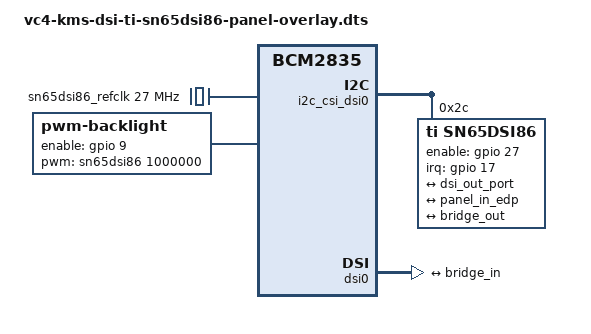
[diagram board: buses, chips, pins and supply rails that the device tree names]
/*
 * vc4-kms-dsi-sn65dsi86-overlay.dts
 */

/dts-v1/;
/plugin/;
#include <dt-bindings/gpio/gpio.h>
#include <dt-bindings/interrupt-controller/irq.h>

/ {
	compatible = "brcm,bcm2835";

	fragment@0 {
		target-path = "/";
		__overlay__ {
			sn65dsi86_refclk: sn65dsi86-refclk {
				compatible = "fixed-clock";
				#clock-cells = <0>;

				clock-frequency = <27000000>;
			};

			backlight: backlight {
				compatible = "pwm-backlight";
				pwms = <&sn65dsi86 1000000>;
				enable-gpios = <&gpio 9 GPIO_ACTIVE_HIGH>;
			};

		};
	};

	fragment@3 {
		target = <&i2c_csi_dsi0>;
		__overlay__ {
			#gpio-cells = <2>;
			#address-cells = <1>;
			#size-cells = <0>;
			status = "okay";

			sn65dsi86: bridge@2c {
				compatible = "ti,sn65dsi86";
				reg = <0x2c>;

				interrupt-parent = <&gpio>;
				interrupts = <17 IRQ_TYPE_LEVEL_HIGH>;

				enable-gpios = <&gpio 27 GPIO_ACTIVE_HIGH>;

				//vpll-supply = <&src_pp1800_s4a>;
				//vccio-supply = <&src_pp1800_s4a>;
				//vcca-supply = <&src_pp1200_l2a>;
				//vcc-supply = <&src_pp1200_l2a>;

				clocks = <&sn65dsi86_refclk>;
				clock-names = "refclk";

				no-hpd;
				#pwm-cells = <1>;

				ports {
					#address-cells = <1>;
					#size-cells = <0>;

					port@0 {
						reg = <0>;

						bridge_in: endpoint {
							remote-endpoint = <&dsi_out_port>;
						};
					};

					port@1 {
						reg = <1>;

						bridge_out: endpoint {
							data-lanes = <0 1 2 3>;
							lane-polarities = <0 0 0 0>;
							remote-endpoint = <&panel_in_edp>;
						};
					};
				};

				aux-bus {
					panel: panel {
						compatible = "edp-panel";
						backlight = <&backlight>;
						//power-supply = <&vlcm_3v3>;

						port {
							panel_in_edp: endpoint {
								remote-endpoint = <&bridge_out>;
							};
						};
					};
				};
			};
		};
	};

	fragment@4 {
		target = <&dsi0>;
		__overlay__ {
			#address-cells = <1>;
			#size-cells = <0>;
			status = "okay";
			port {
				dsi_out_port: endpoint {
					remote-endpoint = <&bridge_in>;
					data-lanes = <0 1 2 3>;
				};
			};
		};
	};
};
